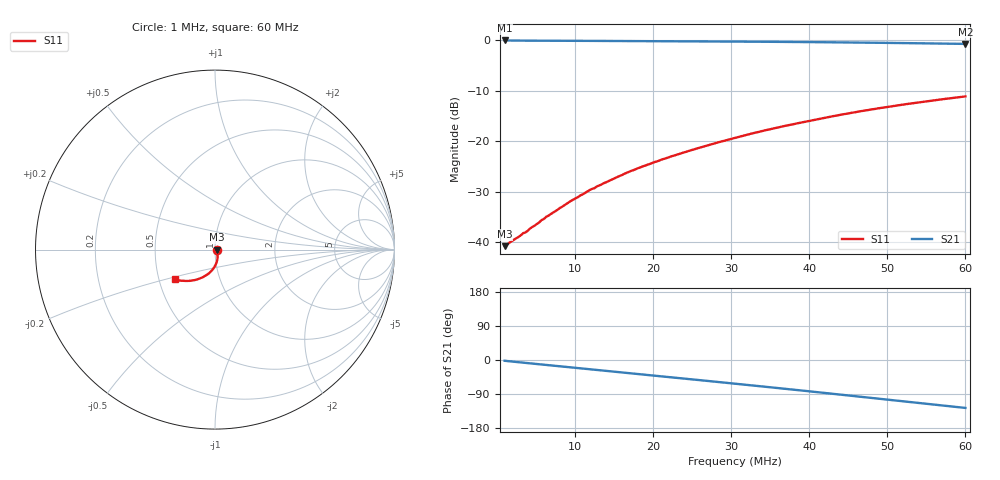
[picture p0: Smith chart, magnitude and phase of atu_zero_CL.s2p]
! S11/S21 from S-A-A-2 VNA
! Written 2026-11-14 07:39:01 by the saav2 MCP server
! S12 and S22 were not measured (1.5-port VNA) and are written as 0
# HZ S RI R 50
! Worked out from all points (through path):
!   201 points, 1 MHz to 60 MHz, reference 50 ohm
!   highest |S21| = 0.00 dB at 1 MHz (marker M1); lowest = -0.7 dB at 60 MHz (marker M2)
!   group delay of S21, straight-line fit = 5.83 ns
!   lowest |S11| = -40.7 dB at 1 MHz (marker M3), VSWR 1.02, Z = 50.9 - j0.116 ohm
!   |S11| at or under -10 dB: start of sweep to end of sweep
!   S12 and S22 are empty: the file has one direction only
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1000000  0.00913 -0.00114  0.9989 -0.0352  0 0  0 0
2770000  0.0104 -0.00452  0.9906 -0.0998  0 0  0 0
3360000  0.0108 -0.00593  0.9876 -0.1208  0 0  0 0
3950000  0.0109 -0.0072  0.9847 -0.1413  0 0  0 0
4245000  0.0112 -0.00792  0.9829 -0.1513  0 0  0 0
5425000  0.0116 -0.0107  0.9751 -0.1923  0 0  0 0
5720000  0.0119 -0.0116  0.9729 -0.2025  0 0  0 0
6310000  0.0122 -0.0132  0.9681 -0.223  0 0  0 0
9555000  0.0134 -0.0222  0.9341 -0.3325  0 0  0 0
1.103e7  0.0137 -0.0267  0.9141 -0.3804  0 0  0 0
1.28e7  0.0142 -0.0329  0.8874 -0.4367  0 0  0 0
1.634e7  0.0143 -0.0457  0.8235 -0.543  0 0  0 0
2.0765e7  0.0109 -0.0636  0.7252 -0.663  0 0  0 0
2.578e7  0.00275 -0.0858  0.5923 -0.7793  0 0  0 0
3.05e7  -0.011 -0.1082  0.4493 -0.8642  0 0  0 0
3.5515e7  -0.0325 -0.1311  0.2824 -0.9268  0 0  0 0
4.053e7  -0.0621 -0.1506  0.1055 -0.9564  0 0  0 0
4.525e7  -0.0959 -0.1652  -0.0644 -0.9525  0 0  0 0
4.7905e7  -0.1169 -0.1708  -0.1587 -0.9366  0 0  0 0
5.0265e7  -0.1369 -0.1736  -0.2415 -0.9138  0 0  0 0
5.528e7  -0.1811 -0.174  -0.4081 -0.8412  0 0  0 0
6e7  -0.2245 -0.1661  -0.5493 -0.7429  0 0  0 0
